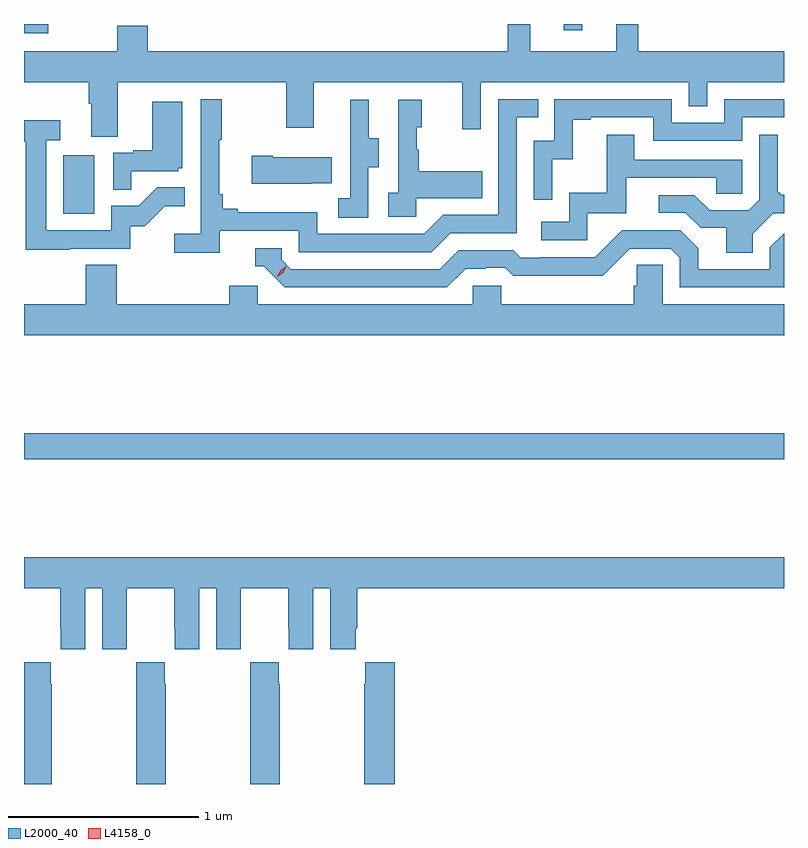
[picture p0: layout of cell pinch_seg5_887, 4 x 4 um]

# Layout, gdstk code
import gdstk
lib = gdstk.Library(unit=1e-6, precision=1e-09)
def R(c, l, rs):  # rectangles x0, y0, x1, y1
    for r in rs: c.add(gdstk.rectangle(r[:2], r[2:], *l))
def P(c, l, *ps):  # polygons
    for p in ps: c.add(gdstk.Polygon(p, *l))
L2000_40 = (2000, 40)
L4158_0 = (4158, 0)

pinch_seg5_887 = lib.new_cell('pinch_seg5_887')
R(pinch_seg5_887, L2000_40, [(868.187,889.408,872.187,889.544), (868.394,890.7,868.558,891.007), (868.187,891.651,868.315,891.699), (871.028,891.666,871.125,891.699)])
P(pinch_seg5_887, L2000_40, [(868.681,891.392),(869.566,891.392),(869.566,891.153),(869.713,891.153),(869.713,891.392),(870.494,891.392),(870.494,891.144),(870.591,891.144),(870.591,891.392),(871.686,891.392),(871.686,891.265),(871.782,891.265),(871.782,891.392),(872.187,891.392),(872.187,891.556),(871.421,891.556),(871.421,891.699),(871.304,891.699),(871.304,891.556),(870.851,891.556),(870.851,891.699),(870.733,891.699),(870.733,891.556),(868.838,891.556),(868.838,891.691),(868.678,891.691),(868.678,891.556),(868.187,891.556),(868.187,891.392),(868.529,891.392),(868.529,891.28),(868.541,891.28),(868.541,891.106),(868.681,891.106)],
  [(869.216,890.61),(869.634,890.61),(869.634,890.499),(870.331,890.499),(870.43,890.598),(870.78,890.598),(870.78,891.207),(870.893,891.207),(870.893,891.303),(870.684,891.303),(870.684,890.694),(870.393,890.694),(870.294,890.595),(869.73,890.595),(869.73,890.707),(869.311,890.707),(869.311,890.726),(869.234,890.726),(869.234,890.803),(869.215,890.803),(869.215,891.091),(869.227,891.091),(869.227,891.304),(869.118,891.304),(869.118,890.596),(868.977,890.596),(868.977,890.494),(869.216,890.494)],
  [(870.966,890.987),(871.076,890.987),(871.076,891.195),(871.171,891.195),(871.171,891.207),(871.5,891.207),(871.5,891.084),(871.968,891.084),(871.968,891.207),(872.187,891.207),(872.187,891.303),(871.872,891.303),(871.872,891.18),(871.596,891.18),(871.596,891.303),(870.978,891.303),(870.978,891.084),(870.87,891.084),(870.87,890.775),(870.966,890.775)],
  [(870.252,890.783),(870.599,890.783),(870.599,890.923),(870.265,890.923),(870.265,891.038),(870.255,891.038),(870.255,891.156),(870.28,891.156),(870.28,891.301),(870.156,891.301),(870.156,890.81),(870.105,890.81),(870.105,890.685),(870.252,890.685)],
  [(870,890.944),(870.055,890.944),(870.055,891.099),(870.001,891.099),(870.001,891.301),(869.903,891.301),(869.903,891.087),(869.904,891.087),(869.904,890.783),(869.841,890.783),(869.841,890.68),(870,890.68)],
  [(868.751,890.925),(868.998,890.925),(868.998,890.94),(869.02,890.94),(869.02,891.289),(868.862,891.289),(868.862,891.034),(868.763,891.034),(868.763,891.021),(868.656,891.021),(868.656,890.827),(868.751,890.827)],
  [(868.427,890.517),(868.746,890.517),(868.746,890.634),(868.822,890.634),(868.929,890.741),(869.033,890.741),(869.033,890.84),(868.889,890.84),(868.791,890.742),(868.647,890.742),(868.647,890.613),(868.305,890.613),(868.305,891.087),(868.378,891.087),(868.378,891.193),(868.189,891.193),(868.189,891.08),(868.197,891.08),(868.197,890.512),(868.427,890.512)],
  [(872.023,890.596),(872.13,890.703),(872.187,890.703),(872.187,890.8),(872.167,890.8),(872.167,890.812),(872.155,890.812),(872.155,891.115),(872.058,891.115),(872.058,890.775),(872.001,890.718),(871.795,890.718),(871.714,890.799),(871.527,890.799),(871.527,890.706),(871.668,890.706),(871.748,890.626),(871.883,890.626),(871.883,890.494),(872.023,890.494)],
  [(871.152,890.703),(871.357,890.703),(871.357,890.889),(871.831,890.889),(871.831,890.805),(871.968,890.805),(871.968,890.985),(871.399,890.985),(871.399,891.115),(871.255,891.115),(871.255,890.812),(871.056,890.812),(871.056,890.658),(870.909,890.658),(870.909,890.562),(871.152,890.562)],
  [(869.699,890.861),(869.807,890.861),(869.807,890.998),(869.497,890.998),(869.497,891.006),(869.385,891.006),(869.385,890.858),(869.699,890.858)],
  [(870.511,890.412),(870.618,890.412),(870.618,890.415),(870.721,890.415),(870.763,890.373),(870.996,890.373),(870.996,890.375),(871.232,890.375),(871.374,890.517),(871.59,890.517),(871.638,890.469),(871.638,890.313),(872.187,890.313),(872.187,890.598),(872.112,890.523),(872.112,890.409),(871.735,890.409),(871.735,890.519),(871.641,890.613),(871.335,890.613),(871.194,890.472),(870.901,890.472),(870.901,890.469),(870.802,890.469),(870.763,890.508),(870.474,890.508),(870.375,890.409),(869.592,890.409),(869.544,890.457),(869.544,890.52),(869.405,890.52),(869.405,890.424),(869.448,890.424),(869.559,890.313),(870.412,890.313)],
  [(872.187,890.224),(871.548,890.224),(871.548,890.432),(871.411,890.432),(871.411,890.322),(871.397,890.322),(871.397,890.224),(870.699,890.224),(870.699,890.322),(870.549,890.322),(870.549,890.224),(869.418,890.224),(869.418,890.322),(869.267,890.322),(869.267,890.224),(868.676,890.224),(868.676,890.432),(868.511,890.432),(868.511,890.224),(868.187,890.224),(868.187,890.06),(872.187,890.06)],
  [(868.51,888.728),(868.598,888.728),(868.598,888.408),(868.728,888.408),(868.728,888.52),(868.729,888.52),(868.729,888.728),(868.979,888.728),(868.979,888.52),(868.98,888.52),(868.98,888.408),(869.11,888.408),(869.11,888.728),(869.198,888.728),(869.198,888.408),(869.328,888.408),(869.328,888.52),(869.329,888.52),(869.329,888.728),(869.579,888.728),(869.579,888.52),(869.58,888.52),(869.58,888.408),(869.71,888.408),(869.71,888.728),(869.798,888.728),(869.798,888.408),(869.932,888.408),(869.932,888.52),(869.942,888.52),(869.942,888.728),(872.187,888.728),(872.187,888.892),(868.187,888.892),(868.187,888.728),(868.379,888.728),(868.379,888.52),(868.38,888.52),(868.38,888.408),(868.51,888.408)],
  [(868.332,888.227),(868.329,888.227),(868.329,888.34),(868.187,888.34),(868.187,887.699),(868.332,887.699)],
  [(870.137,888.34),(869.983,888.34),(869.983,888.227),(869.977,888.227),(869.977,887.699),(870.137,887.699)],
  [(869.532,888.227),(869.529,888.227),(869.529,888.34),(869.379,888.34),(869.379,888.227),(869.377,888.227),(869.377,887.699),(869.532,887.699)],
  [(868.932,888.227),(868.929,888.227),(868.929,888.34),(868.779,888.34),(868.779,888.227),(868.777,888.227),(868.777,887.699),(868.932,887.699)])
P(pinch_seg5_887, L4158_0, [(869.521,890.37),(869.521,890.371),(869.537,890.403),(869.568,890.423),(869.568,890.423),(869.568,890.423),(869.552,890.39),(869.521,890.37)])

lib.write_gds('pinch_seg5_887.gds')
